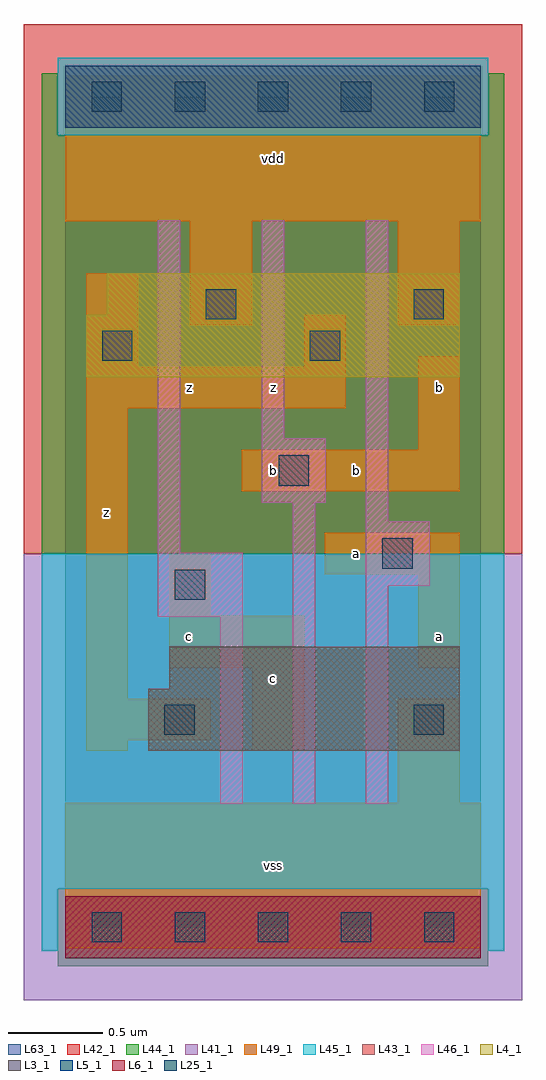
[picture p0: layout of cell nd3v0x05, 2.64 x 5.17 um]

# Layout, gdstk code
import gdstk
lib = gdstk.Library(unit=1e-6, precision=1e-09)
def R(c, l, rs):  # rectangles x0, y0, x1, y1
    for r in rs: c.add(gdstk.rectangle(r[:2], r[2:], *l))
def A(c, l, x, y, w, h, nx, ny, dx, dy):  # array of equal rectangles
    R(c, l, [(x+i*dx, y+j*dy, x+i*dx+w, y+j*dy+h) for i in range(nx) for j in range(ny)])
L3_1 = (3, 1)
L4_1 = (4, 1)
L5_1 = (5, 1)
L6_1 = (6, 1)
L25_1 = (25, 1)
L41_1 = (41, 1)
L42_1 = (42, 1)
L43_1 = (43, 1)
L44_1 = (44, 1)
L45_1 = (45, 1)
L46_1 = (46, 1)
L49_1 = (49, 1)
L63_1 = (63, 1)

nd3v0x05 = lib.new_cell('nd3v0x05')
R(nd3v0x05, L3_1, [(0.44,0.935,2.09,1.265), (0.55,1.265,2.09,1.485)])
R(nd3v0x05, L4_1, [(0.11,2.915,2.09,3.245), (0.22,3.245,2.09,3.465)])
R(nd3v0x05, L5_1, [(0,4.235,2.2,4.565)])
R(nd3v0x05, L6_1, [(0,-0.165,2.2,0.165)])
A(nd3v0x05, L25_1, 0.14, -0.08, 0.16, 0.16, 5, 2, 0.44, 4.4)
R(nd3v0x05, L25_1, [(0.525,1.02,0.685,1.18), (1.845,1.02,2.005,1.18), (0.58,1.735,0.74,1.895), (1.68,1.9,1.84,2.06), (1.13,2.34,1.29,2.5), (0.195,3,0.355,3.16), (1.295,3,1.455,3.16), (0.745,3.22,0.905,3.38), (1.845,3.22,2.005,3.38)])
R(nd3v0x05, L41_1, [(-0.22,-0.385,2.42,1.98)])
R(nd3v0x05, L42_1, [(-0.22,1.98,2.42,4.785)])
R(nd3v0x05, L43_1, [(0,-0.165,2.2,0.165), (0.44,0.935,2.09,1.265), (0.55,1.265,2.09,1.485), (0.11,2.915,2.09,3.245), (0.22,3.245,2.09,3.465), (0,4.235,2.2,4.565)])
R(nd3v0x05, L44_1, [(-0.04,-0.205,2.24,0.205), (-0.125,1.98,2.325,4.195), (-0.125,4.195,-0.04,4.525), (2.24,4.195,2.325,4.525)])
R(nd3v0x05, L45_1, [(-0.125,-0.125,-0.04,0.205), (2.24,-0.125,2.325,0.205), (-0.125,0.205,2.325,1.98), (-0.04,4.195,2.24,4.605)])
R(nd3v0x05, L46_1, [(0.82,0.655,0.94,1.645), (1.205,0.655,1.325,2.25), (1.59,0.655,1.71,1.81), (0.49,1.645,0.94,1.985), (1.59,1.81,1.93,2.15), (0.49,1.985,0.61,3.745), (1.59,2.15,1.71,3.745), (1.04,2.25,1.38,2.59), (1.04,2.59,1.16,3.745)])
R(nd3v0x05, L49_1, [(0,-0.11,2.2,0.66), (1.76,0.66,2.09,1.21), (0.11,0.935,0.33,0.99), (0.99,0.935,1.265,1.375), (0.11,0.99,0.77,1.21), (0.11,1.21,0.33,2.75), (0.55,1.375,1.265,1.65), (1.87,1.375,2.09,1.87), (0.55,1.65,0.77,1.98), (1.375,1.87,2.09,2.09), (0.935,2.31,2.09,2.53), (1.87,2.53,2.09,3.025), (0.11,2.75,1.485,2.97), (0.11,2.97,0.385,3.465), (1.265,2.97,1.485,3.245), (0.66,3.19,0.99,3.74), (1.76,3.19,2.09,3.74), (0,3.74,2.2,4.51)])
R(nd3v0x05, L63_1, [(0,0,2.2,4.4)])
nd3v0x05.add(gdstk.Label('z', (0.22,2.2), layer=49, texttype=1))
nd3v0x05.add(gdstk.Label('c', (0.66,1.54), layer=49, texttype=1))
nd3v0x05.add(gdstk.Label('z', (0.66,2.86), layer=49, texttype=1))
nd3v0x05.add(gdstk.Label('vss', (1.1,0.33), layer=49, texttype=1))
nd3v0x05.add(gdstk.Label('c', (1.1,1.32), layer=49, texttype=1))
nd3v0x05.add(gdstk.Label('a', (1.54,1.98), layer=49, texttype=1))
nd3v0x05.add(gdstk.Label('b', (1.54,2.42), layer=49, texttype=1))
nd3v0x05.add(gdstk.Label('b', (1.1,2.42), layer=49, texttype=1))
nd3v0x05.add(gdstk.Label('z', (1.1,2.86), layer=49, texttype=1))
nd3v0x05.add(gdstk.Label('vdd', (1.1,4.07), layer=49, texttype=1))
nd3v0x05.add(gdstk.Label('a', (1.98,1.54), layer=49, texttype=1))
nd3v0x05.add(gdstk.Label('b', (1.98,2.86), layer=49, texttype=1))

lib.write_gds('nd3v0x05.gds')
